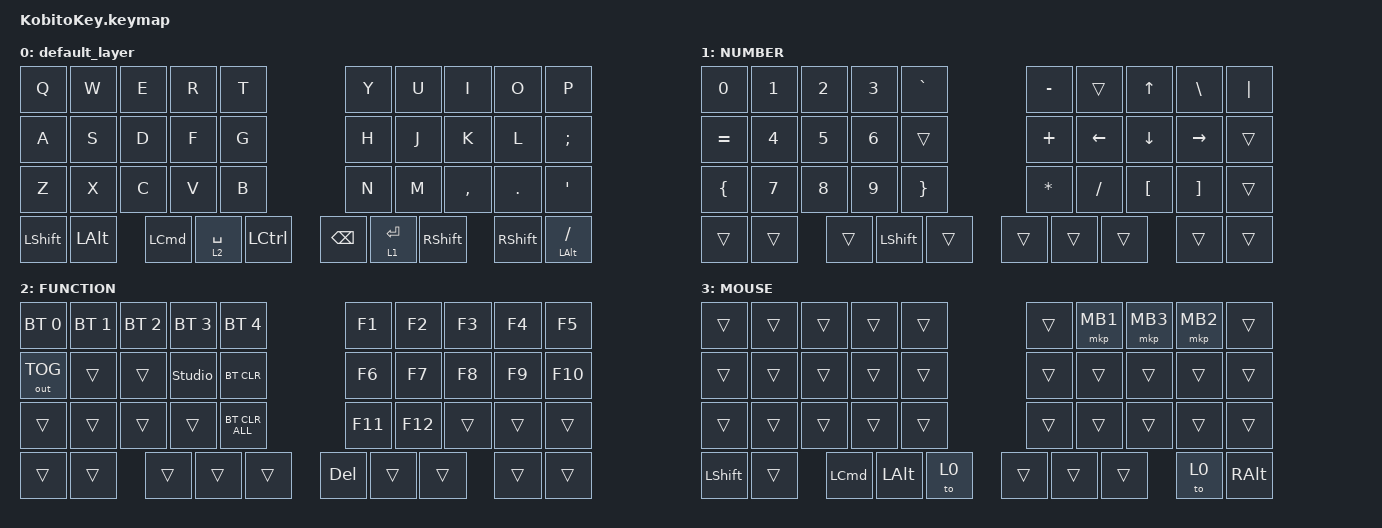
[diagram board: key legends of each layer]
#include <behaviors.dtsi>
#include <dt-bindings/zmk/bt.h>
#include <dt-bindings/zmk/keys.h>
#include <dt-bindings/zmk/outputs.h>
#include <dt-bindings/zmk/pointing.h>
#include <input/processors.dtsi>


 / { 
        combos {
        compatible = "zmk,combos";

        combo_eisu {
            timeout-ms = <50>;
            key-positions = <12 13>;
            bindings = <&kp LANG2>;
        };

        combo_kana {
            timeout-ms = <50>;
            key-positions = <16 17>;
            bindings = <&kp LANG1>;
        };
        
         combo_esc {
            timeout-ms = <50>;
            key-positions = <0 1>;
            bindings = <&kp ESC>;
        };

         combo_tab {
            timeout-ms = <50>;
            key-positions = <10 11>;
            bindings = <&kp TAB>;
        };        
    };


        keymap {
        compatible = "zmk,keymap";

        default_layer {
            bindings = <
                &kp Q       &kp W      &kp E      &kp R           &kp T                    &kp Y            &kp U           &kp I        &kp O      &kp P
                &kp A       &kp S      &kp D      &kp F           &kp G                    &kp H            &kp J           &kp K        &kp L      &kp SEMI
                &kp Z       &kp X      &kp C      &kp V           &kp B                    &kp N            &kp M           &kp COMMA    &kp DOT    &kp APOS
                &kp LSHFT   &kp LALT   &kp LCMD   &lt 2 SPACE     &kp LCTRL                &kp BSPC         &lt 1 ENTER     &kp RSHFT    &kp RSHFT  &mt LALT SLASH
            >;
        };

        layer1 {
            label = "NUMBER";
            bindings = <
                &kp N0    &kp N1   &kp N2   &kp N3      &kp GRAVE       &kp MINUS   &trans       &kp UP         &kp BSLH     &kp PIPE
                &kp EQUAL &kp N4   &kp N5   &kp N6      &trans          &kp PLUS    &kp LEFT     &kp DOWN       &kp RIGHT    &trans
                &kp LBRC  &kp N7   &kp N8   &kp N9      &kp RBRC        &kp ASTRK   &kp SLASH    &kp LBKT       &kp RBKT     &trans
                &trans    &trans   &trans   &kp LSHFT   &trans          &trans      &trans       &trans         &trans       &trans
            >;
        };

        layer2 {
            label = "FUNCTION";
            bindings = <
                &bt BT_SEL 0   &bt BT_SEL 1   &bt BT_SEL 2   &bt BT_SEL 3   &bt BT_SEL 4          &kp F1        &kp F2       &kp F3      &kp F4     &kp F5
                &out OUT_TOG   &trans         &trans         &studio_unlock &bt BT_CLR            &kp F6        &kp F7       &kp F8      &kp F9     &kp F10
                &trans         &trans         &trans         &trans         &bt BT_CLR_ALL        &kp F11       &kp F12      &trans      &trans     &trans
                &trans         &trans         &trans         &trans         &trans                &kp DEL       &trans       &trans      &trans     &trans
            >;
        };

        layer3 {
            label = "MOUSE";
            bindings = <
                &trans      &trans   &trans     &trans      &trans           &trans   &mkp MB1   &mkp MB3   &mkp MB2  &trans
                &trans      &trans   &trans     &trans      &trans           &trans   &trans     &trans     &trans    &trans
                &trans      &trans   &trans     &trans      &trans           &trans   &trans     &trans     &trans    &trans
                &kp LSHFT   &trans   &kp LCMD   &kp LALT    &to 0            &trans   &trans     &trans     &to 0     &kp RALT
            >;
        };
    };

};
